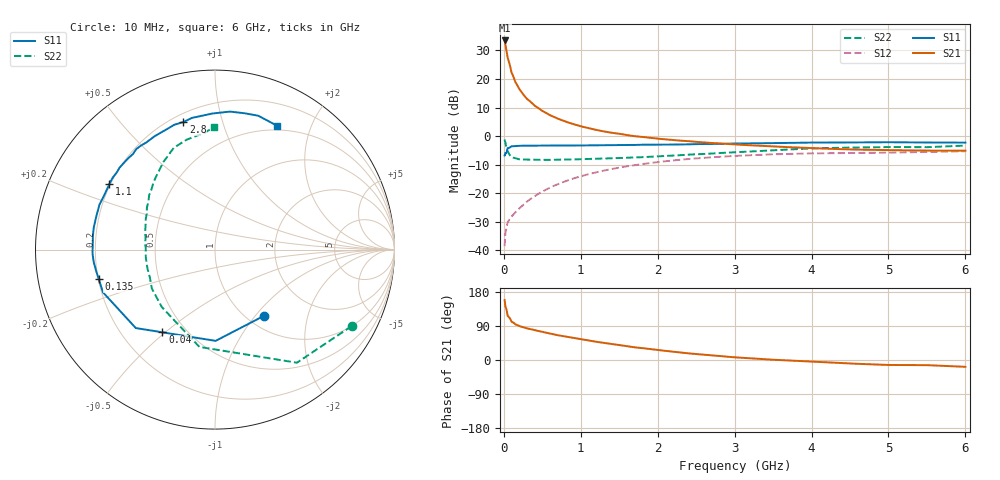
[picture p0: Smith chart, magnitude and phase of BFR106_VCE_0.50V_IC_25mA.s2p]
! Infineon Technologies  Discrete & RF Semiconductors
! BFR106
! VCE = 0.50 V,  IC =  25 mA
! Common Emitter S-Parameters:  Nov 2015
# GHz  S  MA  R  50
!  f  S11  S21  S12  S22
! GHz  MAG  ANG  MAG  ANG  MAG  ANG  MAG  ANG
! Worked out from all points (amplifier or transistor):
!   210 points, 10 MHz to 6 GHz, reference 50 ohm
!   highest |S21| = 33.5 dB at 10 MHz (marker M1)
!   |S21| within 3 dB of that: start of sweep to 30.7 MHz
!   unconditionally stable (mu >= 1): 263.8 MHz to end of sweep
!   at 185 MHz: K = 0.88, MSG = 21.5 dB, |S12| = -25.7 dB
!   at 1.52 GHz: K = 1.09, MAG = 4.0 dB, |S12| = -10.9 dB
!   at 6 GHz: K = 1.03, MAG = -1.0 dB, |S12| = -5.3 dB
!   S11 on the Smith chart (normalised r, x): 10 MHz: 1.19, -1.11; 40 MHz: 0.37, -0.49; 135 MHz: 0.20, -0.12; 1.1 GHz: 0.20, +0.27; 2.8 GHz: 0.25, +0.75; 6 GHz: 0.45, +1.53
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0.01  0.4588 -53.6  47.35 158.1  0.0119 72.3  0.8727 -29.2
0.02  0.5085 -89.6  40.03 141.8  0.0201 60.3  0.7781 -54.1
0.04  0.5462 -122.5  28.34 128.0  0.0273 48.9  0.5793 -80.6
0.05  0.6212 -135.3  23.56 116.3  0.0312 45.2  0.5491 -99.1
0.1  0.6679 -159.1  13.05 101.2  0.0392 44.9  0.4362 -132.8
0.135  0.6687 -165.9  10.1 96.9  0.0443 47.4  0.4168 -143.6
0.15  0.6719 -168.8  8.863 94.2  0.0465 48.3  0.4132 -148.4
0.2  0.6793 -174.2  6.734 89.7  0.0543 52.6  0.3945 -157.0
0.24  0.6819 -177.3  5.657 87.0  0.0607 55.4  0.3916 -162.0
0.3  0.6814 178.9  4.514 83.5  0.0715 58.0  0.3896 -167.2
0.4  0.6847 173.4  3.43 78.6  0.0891 60.8  0.388 -173.4
0.5  0.6866 169.6  2.77 74.2  0.1072 61.9  0.386 -177.8
0.6  0.6867 165.2  2.332 69.7  0.126 61.8  0.3854 179.0
0.8  0.6908 158.7  1.8 61.9  0.1627 60.4  0.3912 173.3
1.02  0.6895 150.8  1.469 54.1  0.2024 57.8  0.3958 168.5
1.1  0.6925 148.3  1.381 51.3  0.2163 56.6  0.4 166.8
2.02  0.7091 122.6  0.9 25.9  0.3548 40.3  0.4464 148.0
2.8  0.7323 103.9  0.748 10.6  0.4357 26.7  0.5077 132.5
3.1  0.746 98.2  0.705 5.8  0.4574 21.7  0.5305 127.1
4.1  0.7735 82.6  0.611 -5.3  0.5016 7.3  0.6151 110.5
5.1  0.7817 71.2  0.566 -13.2  0.5181 -3.4  0.6453 97.5
6  0.772 63.4  0.558 -18.0  0.5452 -11.6  0.6852 90.4
